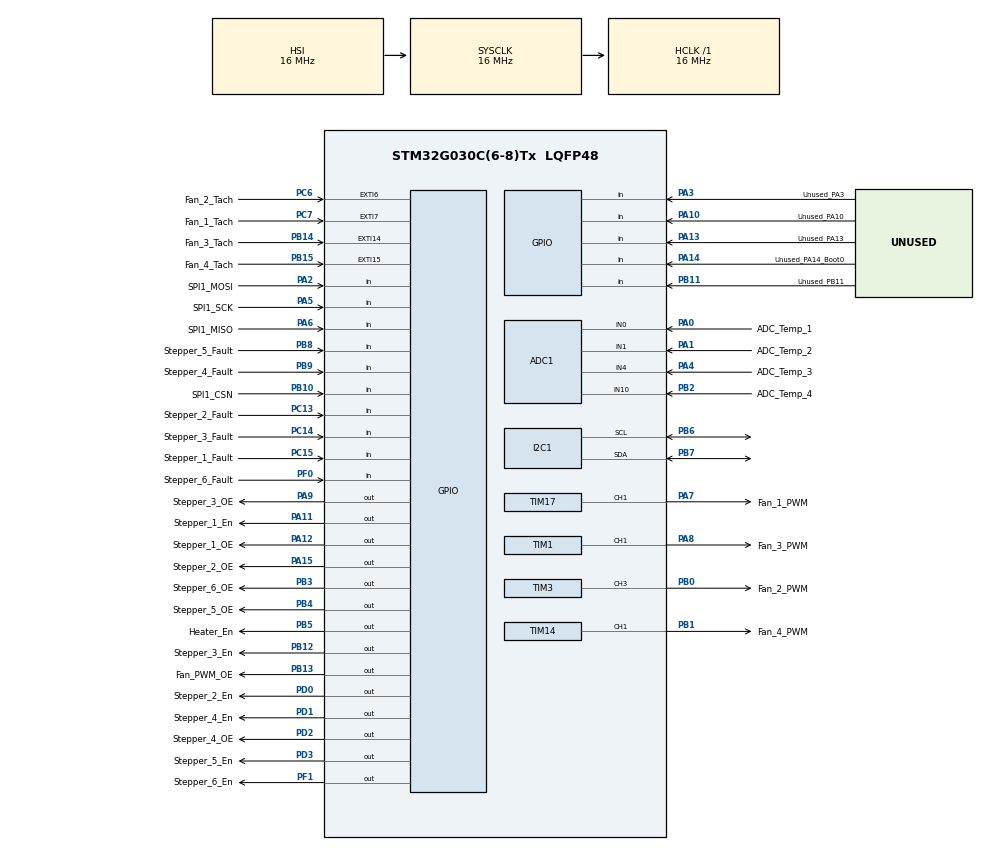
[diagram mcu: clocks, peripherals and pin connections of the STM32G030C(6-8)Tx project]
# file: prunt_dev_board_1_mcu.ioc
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ADC1.Channel-3\#ChannelRegularConversion=ADC_CHANNEL_0
ADC1.Channel-4\#ChannelRegularConversion=ADC_CHANNEL_1
ADC1.Channel-5\#ChannelRegularConversion=ADC_CHANNEL_4
ADC1.Channel-6\#ChannelRegularConversion=ADC_CHANNEL_10
ADC1.ClockPrescaler=ADC_CLOCK_SYNC_PCLK_DIV4
ADC1.ContinuousConvMode=ENABLE
ADC1.DataAlign=ADC_DATAALIGN_RIGHT
ADC1.EOCSelection=ADC_EOC_SINGLE_CONV
ADC1.NbrOfConversion=4
ADC1.NbrOfConversionFlag=1
ADC1.OversamplingMode=ENABLE
ADC1.Rank-3\#ChannelRegularConversion=1
ADC1.Rank-4\#ChannelRegularConversion=2
ADC1.Rank-5\#ChannelRegularConversion=3
ADC1.Rank-6\#ChannelRegularConversion=4
ADC1.Ratio=ADC_OVERSAMPLING_RATIO_256
ADC1.RightBitShift=ADC_RIGHTBITSHIFT_4
ADC1.SamplingTime-3\#ChannelRegularConversion=ADC_SAMPLINGTIME_COMMON_1
ADC1.SamplingTime-4\#ChannelRegularConversion=ADC_SAMPLINGTIME_COMMON_1
ADC1.SamplingTime-5\#ChannelRegularConversion=ADC_SAMPLINGTIME_COMMON_1
ADC1.SamplingTime-6\#ChannelRegularConversion=ADC_SAMPLINGTIME_COMMON_1
ADC1.SamplingTimeCommon1=ADC_SAMPLETIME_160CYCLES_5
ADC1.SelectedChannel=ADC_CHANNEL_0|ADC_CHANNEL_1|ADC_CHANNEL_4|ADC_CHANNEL_10
ADC1.TriggerFrequencyMode=ADC_TRIGGER_FREQ_LOW
ADC1.master=1
CRC.DefaultInitValueUse=DEFAULT_INIT_VALUE_ENABLE
CRC.DefaultPolynomialUse=DEFAULT_POLYNOMIAL_ENABLE
CRC.InputDataInversionMode=CRC_INPUTDATA_INVERSION_BYTE
CRC.OutputDataInversionMode=CRC_OUTPUTDATA_INVERSION_ENABLE
I2C1.NoStretchMode=I2C_NOSTRETCH_ENABLE
I2C1.OwnAddress=115
I2C1.Speed=10
I2C1.Timing=0x40003EFF
IWDG.Prescaler=IWDG_PRESCALER_32
IWDG.Reload=4095
Mcu.Family=STM32G0
Mcu.Name=STM32G030C(6-8)Tx
Mcu.Package=LQFP48
NVIC.ADC1_IRQn=true\:0\:0\:false\:false\:true\:true\:true\:true
NVIC.EXTI4_15_IRQn=true\:0\:0\:false\:false\:true\:true\:true\:true
PA0.GPIO_Label=ADC_Temp_1
PA0.Mode=IN0
PA0.Signal=ADC1_IN0
PA1.GPIO_Label=ADC_Temp_2
PA1.Mode=IN1
PA1.Signal=ADC1_IN1
PA10.GPIO_Label=Unused_PA10
PA10.GPIO_PuPd=GPIO_PULLUP
PA10.Signal=GPIO_Input
PA11\ [PA9].GPIO_Label=Stepper_1_En
PA11\ [PA9].Signal=GPIO_Output
PA12\ [PA10].GPIO_Label=Stepper_1_OE
PA12\ [PA10].Signal=GPIO_Output
PA13.GPIO_Label=Unused_PA13
PA13.GPIO_PuPd=GPIO_PULLUP
PA13.Signal=GPIO_Input
PA14-BOOT0.GPIO_Label=Unused_PA14_Boot0
PA14-BOOT0.GPIO_PuPd=GPIO_PULLDOWN
PA14-BOOT0.Signal=GPIO_Input
PA15.GPIO_Label=Stepper_2_OE
PA15.Signal=GPIO_Output
PA2.GPIO_Label=SPI1_MOSI
PA2.GPIO_PuPd=GPIO_PULLDOWN
PA2.Signal=GPIO_Input
PA3.GPIO_Label=Unused_PA3
PA3.GPIO_PuPd=GPIO_PULLUP
PA3.Signal=GPIO_Input
PA4.GPIO_Label=ADC_Temp_3
PA4.Mode=IN4
PA4.Signal=ADC1_IN4
PA5.GPIO_Label=SPI1_SCK
PA5.GPIO_PuPd=GPIO_PULLDOWN
PA5.Signal=GPIO_Input
PA6.GPIO_Label=SPI1_MISO
PA6.GPIO_PuPd=GPIO_PULLDOWN
PA6.Signal=GPIO_Input
PA7.GPIO_Label=Fan_1_PWM
PA7.Signal=S_TIM17_CH1
PA8.GPIO_Label=Fan_3_PWM
PA8.Signal=S_TIM1_CH1
PA9.GPIO_Label=Stepper_3_OE
PA9.Signal=GPIO_Output
PB0.GPIO_Label=Fan_2_PWM
PB0.Signal=S_TIM3_CH3
PB1.GPIO_Label=Fan_4_PWM
PB1.Signal=S_TIM14_CH1
PB10.GPIO_Label=SPI1_CSN
PB10.GPIO_PuPd=GPIO_PULLDOWN
PB10.Signal=GPIO_Input
PB11.GPIO_Label=Unused_PB11
PB11.GPIO_PuPd=GPIO_PULLUP
PB11.Signal=GPIO_Input
PB12.GPIO_Label=Stepper_3_En
PB12.Signal=GPIO_Output
PB13.GPIO_Label=Fan_PWM_OE
PB13.Signal=GPIO_Output
PB14.GPIO_Label=Fan_3_Tach
PB14.Signal=GPXTI14
PB15.GPIO_Label=Fan_4_Tach
PB15.Signal=GPXTI15
PB2.GPIO_Label=ADC_Temp_4
PB2.Mode=IN10
PB2.Signal=ADC1_IN10
PB3.GPIO_Label=Stepper_6_OE
PB3.Signal=GPIO_Output
PB4.GPIO_Label=Stepper_5_OE
PB4.Signal=GPIO_Output
PB5.GPIO_Label=Heater_En
PB5.Signal=GPIO_Output
PB6.Mode=I2C
PB6.Signal=I2C1_SCL
PB7.Mode=I2C
PB7.Signal=I2C1_SDA
PB8.GPIO_Label=Stepper_5_Fault
PB8.Signal=GPIO_Input
PB9.GPIO_Label=Stepper_4_Fault
PB9.Signal=GPIO_Input
PC13.GPIO_Label=Stepper_2_Fault
PC13.Signal=GPIO_Input
PC14-OSC32_IN\ (PC14).GPIO_Label=Stepper_3_Fault
PC14-OSC32_IN\ (PC14).Signal=GPIO_Input
PC15-OSC32_OUT\ (PC15).GPIO_Label=Stepper_1_Fault
PC15-OSC32_OUT\ (PC15).Signal=GPIO_Input
PC6.GPIO_Label=Fan_2_Tach
PC6.Signal=GPXTI6
PC7.GPIO_Label=Fan_1_Tach
PC7.Signal=GPXTI7
PD0.GPIO_Label=Stepper_2_En
PD0.Signal=GPIO_Output
PD1.GPIO_Label=Stepper_4_En
PD1.Signal=GPIO_Output
PD2.GPIO_Label=Stepper_4_OE
PD2.Signal=GPIO_Output
PD3.GPIO_Label=Stepper_5_En
PD3.Signal=GPIO_Output
PF0-OSC_IN\ (PF0).GPIO_Label=Stepper_6_Fault
PF0-OSC_IN\ (PF0).Signal=GPIO_Input
PF1-OSC_OUT\ (PF1).GPIO_Label=Stepper_6_En
PF1-OSC_OUT\ (PF1).Signal=GPIO_Output
ProjectManager.HeapSize=0x200
ProjectManager.StackSize=0x400
ProjectManager.TargetToolchain=STM32CubeIDE
RCC.ADCFreq_Value=16000000
RCC.AHBFreq_Value=16000000
RCC.CortexFreq_Value=16000000
RCC.EXTERNAL_CLOCK_VALUE=12288000
RCC.HCLKFreq_Value=16000000
RCC.HSE_VALUE=16000000
RCC.HSI_VALUE=16000000
RCC.LSE_VALUE=32768
RCC.PLLN=12
RCC.PLLP=RCC_PLLP_DIV32
RCC.PLLR=RCC_PLLR_DIV8
RCC.SYSCLKFreq_VALUE=16000000
RCC.VCOOutputFreq_Value=192000000
SH.S_TIM14_CH1.0=TIM14_CH1,PWM Generation1 CH1
SH.S_TIM17_CH1.0=TIM17_CH1,PWM Generation1 CH1
SH.S_TIM1_CH1.0=TIM1_CH1,PWM Generation1 CH1
SH.S_TIM3_CH3.0=TIM3_CH3,PWM Generation3 CH3
TIM1.Channel-PWM\ Generation1\ CH1=TIM_CHANNEL_1
TIM1.Period=639
TIM1.Prescaler=0
TIM14.Channel=TIM_CHANNEL_1
TIM14.Period=639
TIM14.Prescaler=0
TIM17.Channel=TIM_CHANNEL_1
TIM17.Period=639
TIM17.Prescaler=0
TIM3.Channel-PWM\ Generation3\ CH3=TIM_CHANNEL_3
TIM3.Period=639
TIM3.Prescaler=0
VP_CRC_VS_CRC.Mode=CRC_Activate
VP_IWDG_VS_IWDG.Mode=IWDG_Activate
VP_TIM14_VS_ClockSourceINT.Mode=Enable_Timer
VP_TIM17_VS_ClockSourceINT.Mode=Enable_Timer
VP_TIM1_VS_ClockSourceINT.Mode=Internal
VP_TIM3_VS_ClockSourceINT.Mode=Internal
board=custom

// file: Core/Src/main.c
/* USER CODE BEGIN Header */
/**
 ******************************************************************************
 * @file           : main.c
 * @brief          : Main program body
 ******************************************************************************
 * @attention
 *
 * Copyright (c) 2024 STMicroelectronics.
 * All rights reserved.
 *
 * This software is licensed under terms that can be found in the LICENSE file
 * in the root directory of this software component.
 * If no LICENSE file comes with this software, it is provided AS-IS.
 *
 ******************************************************************************
 */
/* USER CODE END Header */
#include "main.h"

/* USER CODE BEGIN Includes */
#include "mcu_comms.h"
/* USER CODE END Includes */

ADC_HandleTypeDef hadc1;

CRC_HandleTypeDef hcrc;

I2C_HandleTypeDef hi2c1;

IWDG_HandleTypeDef hiwdg;

TIM_HandleTypeDef htim1;
TIM_HandleTypeDef htim3;
TIM_HandleTypeDef htim14;
TIM_HandleTypeDef htim17;

/* USER CODE BEGIN PV */
struct interrupt_inputs_type {
	uint16_t adc_sequence;
	uint16_t temperatures[4];
	uint16_t tachs[4];
};

static volatile struct interrupt_inputs_type interrupt_inputs = { 0 };
/* USER CODE END PV */

void SystemClock_Config(void);
static void MX_GPIO_Init(void);
static void MX_ADC1_Init(void);
static void MX_I2C1_Init(void);
static void MX_TIM1_Init(void);
static void MX_TIM3_Init(void);
static void MX_TIM14_Init(void);
static void MX_TIM17_Init(void);
static void MX_IWDG_Init(void);
static void MX_CRC_Init(void);

int main(void) {
	/* USER CODE BEGIN 1 */
	// From https://github.com/olikraus/stm32g031/tree/main/enable_boot0
	if ((FLASH->OPTR & FLASH_OPTR_nBOOT_SEL) != 0) {
		/* Clear the LOCK bit in FLASH->CR (precondition for option byte flash) */
		FLASH->KEYR = 0x45670123;
		FLASH->KEYR = 0xCDEF89AB;
		/* Clear the OPTLOCK bit in FLASH->CR */
		FLASH->OPTKEYR = 0x08192A3B;
		FLASH->OPTKEYR = 0x4C5D6E7F;

		/* Enable legacy mode (BOOT0 bit defined by BOOT0 pin) */
		/* by clearing the nBOOT_SELection bit */
		FLASH->OPTR &= ~FLASH_OPTR_nBOOT_SEL;

		/* check if there is any flash operation */
		while ((FLASH->SR & FLASH_SR_BSY1) != 0) {
		}

		/* start the option byte flash */
		FLASH->CR |= FLASH_CR_OPTSTRT;
		/* wait until flashing is done */
		while ((FLASH->SR & FLASH_SR_BSY1) != 0) {
		}

		/* do a busy delay, for about one second, check BSY1 flag to avoid compiler loop optimization */
		for (unsigned long i = 0; i < 2000000; i++) {
			if ((FLASH->SR & FLASH_SR_BSY1) != 0) {
				break;
			}
		}

		/* load the new value and do a system reset */
		/* this will behave like a goto to the begin of this main procedure */
		FLASH->CR |= FLASH_CR_OBL_LAUNCH;
	}

	/* USER CODE END 1 */

	/* MCU Configuration--------------------------------------------------------*/

	/* Reset of all peripherals, Initializes the Flash interface and the Systick. */
	HAL_Init();

	/* Configure the system clock */
	SystemClock_Config();

	/* Initialize all configured peripherals */
	MX_GPIO_Init();
	MX_ADC1_Init();
	MX_I2C1_Init();
	MX_TIM1_Init();
	MX_TIM3_Init();
	MX_TIM14_Init();
	MX_TIM17_Init();
	MX_IWDG_Init();
	MX_CRC_Init();
	/* USER CODE BEGIN 2 */

	HAL_ADC_Start_IT(&hadc1);

	uint8_t message_buffer[Packet_Type_REQUIRED_BYTES_FOR_ACN_ENCODING];
	BitStream bit_stream;
	Packet_Type packet;
	int asn1_err;

	if (HAL_I2C_Slave_Receive(&hi2c1, message_buffer,
	Packet_Type_REQUIRED_BYTES_FOR_ACN_ENCODING, HAL_MAX_DELAY) != HAL_OK) {
		Error_Handler();
	}

	BitStream_AttachBuffer(&bit_stream, message_buffer,
	Packet_Type_REQUIRED_BYTES_FOR_ACN_ENCODING);
	Packet_Type_ACN_Decode(&packet, &bit_stream, &asn1_err);
	if (asn1_err || packet.packet_data.kind != setup_PRESENT || packet.packet_data.u.setup.version != 0) {
		Error_Handler();
	}

//	__disable_irq();
//	HAL_GPIO_WritePin(Stepper_1_OE_GPIO_Port, Stepper_1_OE_Pin, 1);
//	HAL_GPIO_WritePin(Stepper_2_OE_GPIO_Port, Stepper_2_OE_Pin, 1);
//	HAL_GPIO_WritePin(Stepper_3_OE_GPIO_Port, Stepper_3_OE_Pin, 1);
//	HAL_GPIO_WritePin(Stepper_4_OE_GPIO_Port, Stepper_4_OE_Pin, 1);
//	HAL_GPIO_WritePin(Stepper_5_OE_GPIO_Port, Stepper_5_OE_Pin, 1);
//	HAL_GPIO_WritePin(Stepper_6_OE_GPIO_Port, Stepper_6_OE_Pin, 1);
	/* USER CODE END 2 */

	/* Infinite loop */
	while (1) {

		/* USER CODE BEGIN 3 */
		HAL_IWDG_Refresh(&hiwdg);

		while (HAL_GPIO_ReadPin(Unused_PA14_Boot0_GPIO_Port, Unused_PA14_Boot0_Pin)) {
			// Force a reset in to bootloader.
		}

		__disable_irq();
		struct interrupt_inputs_type interrupt_inputs_copy = interrupt_inputs;
		__enable_irq();

		packet.packet_data.kind = inputs_PRESENT;
		packet.packet_data.u.inputs.adc_sequential_id = interrupt_inputs_copy.adc_sequence;
		packet.packet_data.u.inputs.adc_temp_value.arr[0] = interrupt_inputs_copy.temperatures[0];
		packet.packet_data.u.inputs.adc_temp_value.arr[1] = interrupt_inputs_copy.temperatures[1];
		packet.packet_data.u.inputs.adc_temp_value.arr[2] = interrupt_inputs_copy.temperatures[2];
		packet.packet_data.u.inputs.adc_temp_value.arr[3] = interrupt_inputs_copy.temperatures[3];
		packet.packet_data.u.inputs.fan_tach_count.arr[0] = interrupt_inputs_copy.tachs[0];
		packet.packet_data.u.inputs.fan_tach_count.arr[1] = interrupt_inputs_copy.tachs[1];
		packet.packet_data.u.inputs.fan_tach_count.arr[2] = interrupt_inputs_copy.tachs[2];
		packet.packet_data.u.inputs.fan_tach_count.arr[3] = interrupt_inputs_copy.tachs[3];
		packet.packet_data.u.inputs.stepper_fault.arr[0] = HAL_GPIO_ReadPin(
		Stepper_1_Fault_GPIO_Port, Stepper_1_Fault_Pin);
		packet.packet_data.u.inputs.stepper_fault.arr[1] = HAL_GPIO_ReadPin(
		Stepper_2_Fault_GPIO_Port, Stepper_2_Fault_Pin);
		packet.packet_data.u.inputs.stepper_fault.arr[2] = HAL_GPIO_ReadPin(
		Stepper_3_Fault_GPIO_Port, Stepper_3_Fault_Pin);
		packet.packet_data.u.inputs.stepper_fault.arr[3] = HAL_GPIO_ReadPin(
		Stepper_4_Fault_GPIO_Port, Stepper_4_Fault_Pin);
		packet.packet_data.u.inputs.stepper_fault.arr[4] = HAL_GPIO_ReadPin(
		Stepper_5_Fault_GPIO_Port, Stepper_5_Fault_Pin);
		packet.packet_data.u.inputs.stepper_fault.arr[5] = HAL_GPIO_ReadPin(
		Stepper_6_Fault_GPIO_Port, Stepper_6_Fault_Pin);

		BitStream_Init(&bit_stream, message_buffer, Packet_Type_REQUIRED_BYTES_FOR_ACN_ENCODING);
		Packet_Type_ACN_Encode(&packet, &bit_stream, &asn1_err, true);
		if (asn1_err) {
			Error_Handler();
		}

		if (HAL_I2C_Slave_Transmit(&hi2c1, message_buffer,
		Packet_Type_REQUIRED_BYTES_FOR_ACN_ENCODING, HAL_MAX_DELAY) != HAL_OK) {
			Error_Handler();
		}

		if (HAL_I2C_Slave_Receive(&hi2c1, message_buffer,
		Packet_Type_REQUIRED_BYTES_FOR_ACN_ENCODING, HAL_MAX_DELAY) != HAL_OK) {
			Error_Handler();
		}

		BitStream_AttachBuffer(&bit_stream, message_buffer,
		Packet_Type_REQUIRED_BYTES_FOR_ACN_ENCODING);
		Packet_Type_ACN_Decode(&packet, &bit_stream, &asn1_err);
		if (asn1_err || packet.packet_data.kind != outputs_PRESENT) {
			Error_Handler();
		}

		HAL_GPIO_WritePin(Heater_En_GPIO_Port, Heater_En_Pin, packet.packet_data.u.outputs.heater_enable);
		HAL_GPIO_WritePin(Stepper_1_OE_GPIO_Port, Stepper_1_OE_Pin,
				packet.packet_data.u.outputs.stepper_output_enable.arr[0]);
		HAL_GPIO_WritePin(Stepper_2_OE_GPIO_Port, Stepper_2_OE_Pin,
				packet.packet_data.u.outputs.stepper_output_enable.arr[1]);
		HAL_GPIO_WritePin(Stepper_3_OE_GPIO_Port, Stepper_3_OE_Pin,
				packet.packet_data.u.outputs.stepper_output_enable.arr[2]);
		HAL_GPIO_WritePin(Stepper_4_OE_GPIO_Port, Stepper_4_OE_Pin,
				packet.packet_data.u.outputs.stepper_output_enable.arr[3]);
		HAL_GPIO_WritePin(Stepper_5_OE_GPIO_Port, Stepper_5_OE_Pin,
				packet.packet_data.u.outputs.stepper_output_enable.arr[4]);
		HAL_GPIO_WritePin(Stepper_6_OE_GPIO_Port, Stepper_6_OE_Pin,
				packet.packet_data.u.outputs.stepper_output_enable.arr[5]);
		HAL_GPIO_WritePin(Stepper_1_En_GPIO_Port, Stepper_1_En_Pin, packet.packet_data.u.outputs.stepper_enable.arr[0]);
		HAL_GPIO_WritePin(Stepper_2_En_GPIO_Port, Stepper_2_En_Pin, packet.packet_data.u.outputs.stepper_enable.arr[1]);
		HAL_GPIO_WritePin(Stepper_3_En_GPIO_Port, Stepper_3_En_Pin, packet.packet_data.u.outputs.stepper_enable.arr[2]);
		HAL_GPIO_WritePin(Stepper_4_En_GPIO_Port, Stepper_4_En_Pin, packet.packet_data.u.outputs.stepper_enable.arr[3]);
		HAL_GPIO_WritePin(Stepper_5_En_GPIO_Port, Stepper_5_En_Pin, packet.packet_data.u.outputs.stepper_enable.arr[4]);
		HAL_GPIO_WritePin(Stepper_6_En_GPIO_Port, Stepper_6_En_Pin, packet.packet_data.u.outputs.stepper_enable.arr[5]);
		TIM17->CCR1 = packet.packet_data.u.outputs.fan_pwm.arr[0];
		TIM3->CCR3 = packet.packet_data.u.outputs.fan_pwm.arr[1];
		TIM1->CCR1 = packet.packet_data.u.outputs.fan_pwm.arr[2];
		TIM14->CCR1 = packet.packet_data.u.outputs.fan_pwm.arr[3];
	}
	/* USER CODE END 3 */
}

void SystemClock_Config(void) {
	RCC_OscInitTypeDef RCC_OscInitStruct = { 0 };
	RCC_ClkInitTypeDef RCC_ClkInitStruct = { 0 };

	/** Configure the main internal regulator output voltage
	 */
	HAL_PWREx_ControlVoltageScaling(PWR_REGULATOR_VOLTAGE_SCALE1);

	/** Initializes the RCC Oscillators according to the specified parameters
	 * in the RCC_OscInitTypeDef structure.
	 */
	RCC_OscInitStruct.OscillatorType = RCC_OSCILLATORTYPE_HSI | RCC_OSCILLATORTYPE_LSI;
	RCC_OscInitStruct.HSIState = RCC_HSI_ON;
	RCC_OscInitStruct.HSIDiv = RCC_HSI_DIV1;
	RCC_OscInitStruct.HSICalibrationValue = RCC_HSICALIBRATION_DEFAULT;
	RCC_OscInitStruct.LSIState = RCC_LSI_ON;
	RCC_OscInitStruct.PLL.PLLState = RCC_PLL_NONE;
	if (HAL_RCC_OscConfig(&RCC_OscInitStruct) != HAL_OK) {
		Error_Handler();
	}

	/** Initializes the CPU, AHB and APB buses clocks
	 */
	RCC_ClkInitStruct.ClockType = RCC_CLOCKTYPE_HCLK | RCC_CLOCKTYPE_SYSCLK | RCC_CLOCKTYPE_PCLK1;
	RCC_ClkInitStruct.SYSCLKSource = RCC_SYSCLKSOURCE_HSI;
	RCC_ClkInitStruct.AHBCLKDivider = RCC_SYSCLK_DIV1;
	RCC_ClkInitStruct.APB1CLKDivider = RCC_HCLK_DIV1;

	if (HAL_RCC_ClockConfig(&RCC_ClkInitStruct, FLASH_LATENCY_0) != HAL_OK) {
		Error_Handler();
	}
}

static void MX_ADC1_Init(void) {

	ADC_ChannelConfTypeDef sConfig = { 0 };

	/** Configure the global features of the ADC (Clock, Resolution, Data Alignment and number of conversion)
	 */
	hadc1.Instance = ADC1;
	hadc1.Init.ClockPrescaler = ADC_CLOCK_SYNC_PCLK_DIV4;
	hadc1.Init.Resolution = ADC_RESOLUTION_12B;
	hadc1.Init.DataAlign = ADC_DATAALIGN_RIGHT;
	hadc1.Init.ScanConvMode = ADC_SCAN_ENABLE;
	hadc1.Init.EOCSelection = ADC_EOC_SINGLE_CONV;
	hadc1.Init.LowPowerAutoWait = DISABLE;
	hadc1.Init.LowPowerAutoPowerOff = DISABLE;
	hadc1.Init.ContinuousConvMode = ENABLE;
	hadc1.Init.NbrOfConversion = 4;
	hadc1.Init.ExternalTrigConv = ADC_SOFTWARE_START;
	hadc1.Init.ExternalTrigConvEdge = ADC_EXTERNALTRIGCONVEDGE_NONE;
	hadc1.Init.DMAContinuousRequests = DISABLE;
	hadc1.Init.Overrun = ADC_OVR_DATA_PRESERVED;
	hadc1.Init.SamplingTimeCommon1 = ADC_SAMPLETIME_160CYCLES_5;
	hadc1.Init.SamplingTimeCommon2 = ADC_SAMPLETIME_1CYCLE_5;
	hadc1.Init.OversamplingMode = ENABLE;
	hadc1.Init.Oversampling.Ratio = ADC_OVERSAMPLING_RATIO_256;
	hadc1.Init.Oversampling.RightBitShift = ADC_RIGHTBITSHIFT_4;
	hadc1.Init.Oversampling.TriggeredMode = ADC_TRIGGEREDMODE_SINGLE_TRIGGER;
	hadc1.Init.TriggerFrequencyMode = ADC_TRIGGER_FREQ_LOW;
	if (HAL_ADC_Init(&hadc1) != HAL_OK) {
		Error_Handler();
	}

	/** Configure Regular Channel
	 */
	sConfig.Channel = ADC_CHANNEL_0;
	sConfig.Rank = ADC_REGULAR_RANK_1;
	sConfig.SamplingTime = ADC_SAMPLINGTIME_COMMON_1;
	if (HAL_ADC_ConfigChannel(&hadc1, &sConfig) != HAL_OK) {
		Error_Handler();
	}

	/** Configure Regular Channel
	 */
	sConfig.Channel = ADC_CHANNEL_1;
	sConfig.Rank = ADC_REGULAR_RANK_2;
	if (HAL_ADC_ConfigChannel(&hadc1, &sConfig) != HAL_OK) {
		Error_Handler();
	}

	/** Configure Regular Channel
	 */
	sConfig.Channel = ADC_CHANNEL_4;
	sConfig.Rank = ADC_REGULAR_RANK_3;
	if (HAL_ADC_ConfigChannel(&hadc1, &sConfig) != HAL_OK) {
		Error_Handler();
	}

	/** Configure Regular Channel
	 */
	sConfig.Channel = ADC_CHANNEL_10;
	sConfig.Rank = ADC_REGULAR_RANK_4;
	if (HAL_ADC_ConfigChannel(&hadc1, &sConfig) != HAL_OK) {
		Error_Handler();
	}

}

static void MX_CRC_Init(void) {

	hcrc.Instance = CRC;
	hcrc.Init.DefaultPolynomialUse = DEFAULT_POLYNOMIAL_ENABLE;
	hcrc.Init.DefaultInitValueUse = DEFAULT_INIT_VALUE_ENABLE;
	hcrc.Init.InputDataInversionMode = CRC_INPUTDATA_INVERSION_BYTE;
	hcrc.Init.OutputDataInversionMode = CRC_OUTPUTDATA_INVERSION_ENABLE;
	hcrc.InputDataFormat = CRC_INPUTDATA_FORMAT_BYTES;
	if (HAL_CRC_Init(&hcrc) != HAL_OK) {
		Error_Handler();
	}

}

static void MX_I2C1_Init(void) {

	hi2c1.Instance = I2C1;
	hi2c1.Init.Timing = 0x40003EFF;
	hi2c1.Init.OwnAddress1 = 230;
	hi2c1.Init.AddressingMode = I2C_ADDRESSINGMODE_7BIT;
	hi2c1.Init.DualAddressMode = I2C_DUALADDRESS_DISABLE;
	hi2c1.Init.OwnAddress2 = 0;
	hi2c1.Init.OwnAddress2Masks = I2C_OA2_NOMASK;
	hi2c1.Init.GeneralCallMode = I2C_GENERALCALL_DISABLE;
	hi2c1.Init.NoStretchMode = I2C_NOSTRETCH_ENABLE;
	if (HAL_I2C_Init(&hi2c1) != HAL_OK) {
		Error_Handler();
	}

	/** Configure Analogue filter
	 */
	if (HAL_I2CEx_ConfigAnalogFilter(&hi2c1, I2C_ANALOGFILTER_ENABLE) != HAL_OK) {
		Error_Handler();
	}

	/** Configure Digital filter
	 */
	if (HAL_I2CEx_ConfigDigitalFilter(&hi2c1, 0) != HAL_OK) {
		Error_Handler();
	}

}

static void MX_IWDG_Init(void) {

	hiwdg.Instance = IWDG;
	hiwdg.Init.Prescaler = IWDG_PRESCALER_32;
	hiwdg.Init.Window = 4095;
	hiwdg.Init.Reload = 4095;
	if (HAL_IWDG_Init(&hiwdg) != HAL_OK) {
		Error_Handler();
	}

}

static void MX_TIM1_Init(void) {

	TIM_ClockConfigTypeDef sClockSourceConfig = { 0 };
	TIM_MasterConfigTypeDef sMasterConfig = { 0 };
	TIM_OC_InitTypeDef sConfigOC = { 0 };
	TIM_BreakDeadTimeConfigTypeDef sBreakDeadTimeConfig = { 0 };

	htim1.Instance = TIM1;
	htim1.Init.Prescaler = 0;
	htim1.Init.CounterMode = TIM_COUNTERMODE_UP;
	htim1.Init.Period = 639;
	htim1.Init.ClockDivision = TIM_CLOCKDIVISION_DIV1;
	htim1.Init.RepetitionCounter = 0;
	htim1.Init.AutoReloadPreload = TIM_AUTORELOAD_PRELOAD_DISABLE;
	if (HAL_TIM_Base_Init(&htim1) != HAL_OK) {
		Error_Handler();
	}
	sClockSourceConfig.ClockSource = TIM_CLOCKSOURCE_INTERNAL;
	if (HAL_TIM_ConfigClockSource(&htim1, &sClockSourceConfig) != HAL_OK) {
		Error_Handler();
	}
	if (HAL_TIM_PWM_Init(&htim1) != HAL_OK) {
		Error_Handler();
	}
	sMasterConfig.MasterOutputTrigger = TIM_TRGO_RESET;
	sMasterConfig.MasterOutputTrigger2 = TIM_TRGO2_RESET;
	sMasterConfig.MasterSlaveMode = TIM_MASTERSLAVEMODE_DISABLE;
	if (HAL_TIMEx_MasterConfigSynchronization(&htim1, &sMasterConfig) != HAL_OK) {
		Error_Handler();
	}
	sConfigOC.OCMode = TIM_OCMODE_PWM1;
	sConfigOC.Pulse = 0;
	sConfigOC.OCPolarity = TIM_OCPOLARITY_HIGH;
	sConfigOC.OCNPolarity = TIM_OCNPOLARITY_HIGH;
	sConfigOC.OCFastMode = TIM_OCFAST_DISABLE;
	sConfigOC.OCIdleState = TIM_OCIDLESTATE_RESET;
	sConfigOC.OCNIdleState = TIM_OCNIDLESTATE_RESET;
	if (HAL_TIM_PWM_ConfigChannel(&htim1, &sConfigOC, TIM_CHANNEL_1) != HAL_OK) {
		Error_Handler();
	}
	sBreakDeadTimeConfig.OffStateRunMode = TIM_OSSR_DISABLE;
	sBreakDeadTimeConfig.OffStateIDLEMode = TIM_OSSI_DISABLE;
	sBreakDeadTimeConfig.LockLevel = TIM_LOCKLEVEL_OFF;
	sBreakDeadTimeConfig.DeadTime = 0;
	sBreakDeadTimeConfig.BreakState = TIM_BREAK_DISABLE;
	sBreakDeadTimeConfig.BreakPolarity = TIM_BREAKPOLARITY_HIGH;
	sBreakDeadTimeConfig.BreakFilter = 0;
	sBreakDeadTimeConfig.BreakAFMode = TIM_BREAK_AFMODE_INPUT;
	sBreakDeadTimeConfig.Break2State = TIM_BREAK2_DISABLE;
	sBreakDeadTimeConfig.Break2Polarity = TIM_BREAK2POLARITY_HIGH;
	sBreakDeadTimeConfig.Break2Filter = 0;
	sBreakDeadTimeConfig.Break2AFMode = TIM_BREAK_AFMODE_INPUT;
	sBreakDeadTimeConfig.AutomaticOutput = TIM_AUTOMATICOUTPUT_DISABLE;
	if (HAL_TIMEx_ConfigBreakDeadTime(&htim1, &sBreakDeadTimeConfig) != HAL_OK) {
		Error_Handler();
	}
	HAL_TIM_MspPostInit(&htim1);

}

static void MX_TIM3_Init(void) {

	TIM_ClockConfigTypeDef sClockSourceConfig = { 0 };
	TIM_MasterConfigTypeDef sMasterConfig = { 0 };
	TIM_OC_InitTypeDef sConfigOC = { 0 };

	htim3.Instance = TIM3;
	htim3.Init.Prescaler = 0;
	htim3.Init.CounterMode = TIM_COUNTERMODE_UP;
	htim3.Init.Period = 639;
	htim3.Init.ClockDivision = TIM_CLOCKDIVISION_DIV1;
	htim3.Init.AutoReloadPreload = TIM_AUTORELOAD_PRELOAD_DISABLE;
	if (HAL_TIM_Base_Init(&htim3) != HAL_OK) {
		Error_Handler();
	}
	sClockSourceConfig.ClockSource = TIM_CLOCKSOURCE_INTERNAL;
	if (HAL_TIM_ConfigClockSource(&htim3, &sClockSourceConfig) != HAL_OK) {
		Error_Handler();
	}
	if (HAL_TIM_PWM_Init(&htim3) != HAL_OK) {
		Error_Handler();
	}
	sMasterConfig.MasterOutputTrigger = TIM_TRGO_RESET;
	sMasterConfig.MasterSlaveMode = TIM_MASTERSLAVEMODE_DISABLE;
	if (HAL_TIMEx_MasterConfigSynchronization(&htim3, &sMasterConfig) != HAL_OK) {
		Error_Handler();
	}
	sConfigOC.OCMode = TIM_OCMODE_PWM1;
	sConfigOC.Pulse = 0;
	sConfigOC.OCPolarity = TIM_OCPOLARITY_HIGH;
	sConfigOC.OCFastMode = TIM_OCFAST_DISABLE;
	if (HAL_TIM_PWM_ConfigChannel(&htim3, &sConfigOC, TIM_CHANNEL_3) != HAL_OK) {
		Error_Handler();
	}
	HAL_TIM_MspPostInit(&htim3);

}

static void MX_TIM14_Init(void) {

	TIM_OC_InitTypeDef sConfigOC = { 0 };

	htim14.Instance = TIM14;
	htim14.Init.Prescaler = 0;
	htim14.Init.CounterMode = TIM_COUNTERMODE_UP;
	htim14.Init.Period = 639;
	htim14.Init.ClockDivision = TIM_CLOCKDIVISION_DIV1;
	htim14.Init.AutoReloadPreload = TIM_AUTORELOAD_PRELOAD_DISABLE;
	if (HAL_TIM_Base_Init(&htim14) != HAL_OK) {
		Error_Handler();
	}
	if (HAL_TIM_PWM_Init(&htim14) != HAL_OK) {
		Error_Handler();
	}
	sConfigOC.OCMode = TIM_OCMODE_PWM1;
	sConfigOC.Pulse = 0;
	sConfigOC.OCPolarity = TIM_OCPOLARITY_HIGH;
	sConfigOC.OCFastMode = TIM_OCFAST_DISABLE;
	if (HAL_TIM_PWM_ConfigChannel(&htim14, &sConfigOC, TIM_CHANNEL_1) != HAL_OK) {
		Error_Handler();
	}
	HAL_TIM_MspPostInit(&htim14);

}

static void MX_TIM17_Init(void) {

	TIM_OC_InitTypeDef sConfigOC = { 0 };
	TIM_BreakDeadTimeConfigTypeDef sBreakDeadTimeConfig = { 0 };

	htim17.Instance = TIM17;
	htim17.Init.Prescaler = 0;
	htim17.Init.CounterMode = TIM_COUNTERMODE_UP;
	htim17.Init.Period = 639;
	htim17.Init.ClockDivision = TIM_CLOCKDIVISION_DIV1;
	htim17.Init.RepetitionCounter = 0;
	htim17.Init.AutoReloadPreload = TIM_AUTORELOAD_PRELOAD_DISABLE;
	if (HAL_TIM_Base_Init(&htim17) != HAL_OK) {
		Error_Handler();
	}
	if (HAL_TIM_PWM_Init(&htim17) != HAL_OK) {
		Error_Handler();
	}
	sConfigOC.OCMode = TIM_OCMODE_PWM1;
	sConfigOC.Pulse = 0;
	sConfigOC.OCPolarity = TIM_OCPOLARITY_HIGH;
	sConfigOC.OCNPolarity = TIM_OCNPOLARITY_HIGH;
	sConfigOC.OCFastMode = TIM_OCFAST_DISABLE;
	sConfigOC.OCIdleState = TIM_OCIDLESTATE_RESET;
	sConfigOC.OCNIdleState = TIM_OCNIDLESTATE_RESET;
	if (HAL_TIM_PWM_ConfigChannel(&htim17, &sConfigOC, TIM_CHANNEL_1) != HAL_OK) {
		Error_Handler();
	}
	sBreakDeadTimeConfig.OffStateRunMode = TIM_OSSR_DISABLE;
	sBreakDeadTimeConfig.OffStateIDLEMode = TIM_OSSI_DISABLE;
	sBreakDeadTimeConfig.LockLevel = TIM_LOCKLEVEL_OFF;
	sBreakDeadTimeConfig.DeadTime = 0;
	sBreakDeadTimeConfig.BreakState = TIM_BREAK_DISABLE;
	sBreakDeadTimeConfig.BreakPolarity = TIM_BREAKPOLARITY_HIGH;
	sBreakDeadTimeConfig.BreakFilter = 0;
	sBreakDeadTimeConfig.AutomaticOutput = TIM_AUTOMATICOUTPUT_DISABLE;
	if (HAL_TIMEx_ConfigBreakDeadTime(&htim17, &sBreakDeadTimeConfig) != HAL_OK) {
		Error_Handler();
	}
	HAL_TIM_MspPostInit(&htim17);

}

static void MX_GPIO_Init(void) {
	GPIO_InitTypeDef GPIO_InitStruct = { 0 };

	/* GPIO Ports Clock Enable */
	__HAL_RCC_GPIOC_CLK_ENABLE();
	__HAL_RCC_GPIOF_CLK_ENABLE();
	__HAL_RCC_GPIOA_CLK_ENABLE();
	__HAL_RCC_GPIOB_CLK_ENABLE();
	__HAL_RCC_GPIOD_CLK_ENABLE();

	/*Configure GPIO pin Output Level */
	HAL_GPIO_WritePin(Stepper_6_En_GPIO_Port, Stepper_6_En_Pin, GPIO_PIN_RESET);

	/*Configure GPIO pin Output Level */
	HAL_GPIO_WritePin(GPIOB, Stepper_3_En_Pin | Fan_PWM_OE_Pin | Stepper_6_OE_Pin | Stepper_5_OE_Pin | Heater_En_Pin,
			GPIO_PIN_RESET);

	/*Configure GPIO pin Output Level */
	HAL_GPIO_WritePin(GPIOA, Stepper_3_OE_Pin | Stepper_1_En_Pin | Stepper_1_OE_Pin | Stepper_2_OE_Pin, GPIO_PIN_RESET);

	/*Configure GPIO pin Output Level */
	HAL_GPIO_WritePin(GPIOD, Stepper_2_En_Pin | Stepper_4_En_Pin | Stepper_4_OE_Pin | Stepper_5_En_Pin, GPIO_PIN_RESET);

	/*Configure GPIO pins : Stepper_2_Fault_Pin Stepper_3_Fault_Pin Stepper_1_Fault_Pin */
	GPIO_InitStruct.Pin = Stepper_2_Fault_Pin | Stepper_3_Fault_Pin | Stepper_1_Fault_Pin;
	GPIO_InitStruct.Mode = GPIO_MODE_INPUT;
	GPIO_InitStruct.Pull = GPIO_NOPULL;
	HAL_GPIO_Init(GPIOC, &GPIO_InitStruct);

	/*Configure GPIO pin : Stepper_6_Fault_Pin */
	GPIO_InitStruct.Pin = Stepper_6_Fault_Pin;
	GPIO_InitStruct.Mode = GPIO_MODE_INPUT;
	GPIO_InitStruct.Pull = GPIO_NOPULL;
	HAL_GPIO_Init(Stepper_6_Fault_GPIO_Port, &GPIO_InitStruct);

	/*Configure GPIO pin : Stepper_6_En_Pin */
	GPIO_InitStruct.Pin = Stepper_6_En_Pin;
	GPIO_InitStruct.Mode = GPIO_MODE_OUTPUT_PP;
	GPIO_InitStruct.Pull = GPIO_NOPULL;
	GPIO_InitStruct.Speed = GPIO_SPEED_FREQ_LOW;
	HAL_GPIO_Init(Stepper_6_En_GPIO_Port, &GPIO_InitStruct);

	/*Configure GPIO pins : SPI1_MOSI_Pin SPI1_SCK_Pin SPI1_MISO_Pin Unused_PA14_Boot0_Pin */
	GPIO_InitStruct.Pin = SPI1_MOSI_Pin | SPI1_SCK_Pin | SPI1_MISO_Pin | Unused_PA14_Boot0_Pin;
	GPIO_InitStruct.Mode = GPIO_MODE_INPUT;
	GPIO_InitStruct.Pull = GPIO_PULLDOWN;
	HAL_GPIO_Init(GPIOA, &GPIO_InitStruct);

	/*Configure GPIO pins : Unused_PA3_Pin Unused_PA10_Pin Unused_PA13_Pin */
	GPIO_InitStruct.Pin = Unused_PA3_Pin | Unused_PA10_Pin | Unused_PA13_Pin;
	GPIO_InitStruct.Mode = GPIO_MODE_INPUT;
	GPIO_InitStruct.Pull = GPIO_PULLUP;
	HAL_GPIO_Init(GPIOA, &GPIO_InitStruct);

	/*Configure GPIO pin : SPI1_CSN_Pin */
	GPIO_InitStruct.Pin = SPI1_CSN_Pin;
	GPIO_InitStruct.Mode = GPIO_MODE_INPUT;
	GPIO_InitStruct.Pull = GPIO_PULLDOWN;
	HAL_GPIO_Init(SPI1_CSN_GPIO_Port, &GPIO_InitStruct);

	/*Configure GPIO pin : Unused_PB11_Pin */
	GPIO_InitStruct.Pin = Unused_PB11_Pin;
	GPIO_InitStruct.Mode = GPIO_MODE_INPUT;
	GPIO_InitStruct.Pull = GPIO_PULLUP;
	HAL_GPIO_Init(Unused_PB11_GPIO_Port, &GPIO_InitStruct);

	/*Configure GPIO pins : Stepper_3_En_Pin Fan_PWM_OE_Pin Stepper_6_OE_Pin Stepper_5_OE_Pin
	 Heater_En_Pin */
	GPIO_InitStruct.Pin = Stepper_3_En_Pin | Fan_PWM_OE_Pin | Stepper_6_OE_Pin | Stepper_5_OE_Pin | Heater_En_Pin;
	GPIO_InitStruct.Mode = GPIO_MODE_OUTPUT_PP;
	GPIO_InitStruct.Pull = GPIO_NOPULL;
	GPIO_InitStruct.Speed = GPIO_SPEED_FREQ_LOW;
	HAL_GPIO_Init(GPIOB, &GPIO_InitStruct);

	/*Configure GPIO pins : Fan_3_Tach_Pin Fan_4_Tach_Pin */
	GPIO_InitStruct.Pin = Fan_3_Tach_Pin | Fan_4_Tach_Pin;
	GPIO_InitStruct.Mode = GPIO_MODE_IT_RISING;
	GPIO_InitStruct.Pull = GPIO_NOPULL;
	HAL_GPIO_Init(GPIOB, &GPIO_InitStruct);

	/*Configure GPIO pins : Stepper_3_OE_Pin Stepper_1_En_Pin Stepper_1_OE_Pin Stepper_2_OE_Pin */
	GPIO_InitStruct.Pin = Stepper_3_OE_Pin | Stepper_1_En_Pin | Stepper_1_OE_Pin | Stepper_2_OE_Pin;
	GPIO_InitStruct.Mode = GPIO_MODE_OUTPUT_PP;
	GPIO_InitStruct.Pull = GPIO_NOPULL;
	GPIO_InitStruct.Speed = GPIO_SPEED_FREQ_LOW;
	HAL_GPIO_Init(GPIOA, &GPIO_InitStruct);

	/*Configure GPIO pins : Fan_2_Tach_Pin Fan_1_Tach_Pin */
	GPIO_InitStruct.Pin = Fan_2_Tach_Pin | Fan_1_Tach_Pin;
	GPIO_InitStruct.Mode = GPIO_MODE_IT_RISING;
	GPIO_InitStruct.Pull = GPIO_NOPULL;
	HAL_GPIO_Init(GPIOC, &GPIO_InitStruct);

	/*Configure GPIO pins : Stepper_2_En_Pin Stepper_4_En_Pin Stepper_4_OE_Pin Stepper_5_En_Pin */
	GPIO_InitStruct.Pin = Stepper_2_En_Pin | Stepper_4_En_Pin | Stepper_4_OE_Pin | Stepper_5_En_Pin;
	GPIO_InitStruct.Mode = GPIO_MODE_OUTPUT_PP;
	GPIO_InitStruct.Pull = GPIO_NOPULL;
	GPIO_InitStruct.Speed = GPIO_SPEED_FREQ_LOW;
	HAL_GPIO_Init(GPIOD, &GPIO_InitStruct);

	/*Configure GPIO pins : Stepper_5_Fault_Pin Stepper_4_Fault_Pin */
	GPIO_InitStruct.Pin = Stepper_5_Fault_Pin | Stepper_4_Fault_Pin;
	GPIO_InitStruct.Mode = GPIO_MODE_INPUT;
	GPIO_InitStruct.Pull = GPIO_NOPULL;
	HAL_GPIO_Init(GPIOB, &GPIO_InitStruct);

	/* EXTI interrupt init*/
	HAL_NVIC_SetPriority(EXTI4_15_IRQn, 0, 0);
	HAL_NVIC_EnableIRQ(EXTI4_15_IRQn);

}

/* USER CODE BEGIN 4 */
void HAL_ADC_ConvCpltCallback(ADC_HandleTypeDef *hadc) {
	static int next_sensor = 0;

	interrupt_inputs.temperatures[next_sensor] = HAL_ADC_GetValue(hadc);

	++interrupt_inputs.adc_sequence;
	++next_sensor;
	if (next_sensor == 4) {
		next_sensor = 0;
	}
}

void HAL_GPIO_EXTI_Rising_Callback(uint16_t pin) {
	switch (pin) {
	case Fan_1_Tach_Pin:
		++interrupt_inputs.tachs[0];
		break;
	case Fan_2_Tach_Pin:
		++interrupt_inputs.tachs[1];
		break;
	case Fan_3_Tach_Pin:
		++interrupt_inputs.tachs[2];
		break;
	case Fan_4_Tach_Pin:
		++interrupt_inputs.tachs[3];
		break;
	}
}
/* USER CODE END 4 */

void Error_Handler(void) {
	__disable_irq();
	while (1) {
	}
}
